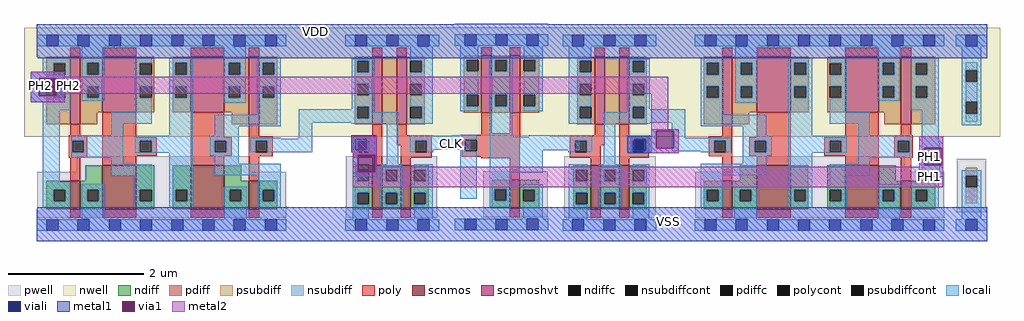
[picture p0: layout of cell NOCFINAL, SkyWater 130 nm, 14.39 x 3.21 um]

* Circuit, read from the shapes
.subckt NOCFINAL PH1 PH2 CLK VDD VSS
XM1 VSS n1 PH2 VSS sky130_fd_pr__nfet_01v8 w=0.42 l=0.15
XM2 n1 n2 VSS VSS sky130_fd_pr__nfet_01v8 w=0.65 l=0.5
XM3 VSS n3 n2 VSS sky130_fd_pr__nfet_01v8 w=0.65 l=0.5
XM4 n3 sky130_fd_sc_hd__clkdlybuf4s50_1_1/A VSS VSS sky130_fd_pr__nfet_01v8 w=0.42 l=0.15
XM5 sky130_fd_sc_hd__clkdlybuf4s50_1_1/A PH1 VSS VSS sky130_fd_pr__nfet_01v8 w=0.65 l=0.15
XM6 VSS CLK sky130_fd_sc_hd__clkdlybuf4s50_1_1/A VSS sky130_fd_pr__nfet_01v8 w=0.65 l=0.15
XM7 VSS CLK sky130_fd_sc_hd__nor2_1_0/A VSS sky130_fd_pr__nfet_01v8 w=0.42 l=0.15
XM8 sky130_fd_sc_hd__clkdlybuf4s50_1_0/A sky130_fd_sc_hd__nor2_1_0/A VSS VSS sky130_fd_pr__nfet_01v8 w=0.65 l=0.15
XM9 VSS PH2 sky130_fd_sc_hd__clkdlybuf4s50_1_0/A VSS sky130_fd_pr__nfet_01v8 w=0.65 l=0.15
XM10 VSS sky130_fd_sc_hd__clkdlybuf4s50_1_0/A n4 VSS sky130_fd_pr__nfet_01v8 w=0.42 l=0.15
XM11 n5 n4 VSS VSS sky130_fd_pr__nfet_01v8 w=0.65 l=0.5
XM12 VSS n5 n6 VSS sky130_fd_pr__nfet_01v8 w=0.65 l=0.5
XM13 sky130_fd_sc_hd__clkdlybuf4s50_1_0/X n6 VSS VSS sky130_fd_pr__nfet_01v8 w=0.42 l=0.15
XM14 VDD n1 PH2 VDD sky130_fd_pr__pfet_01v8_hvt w=1 l=0.15
XM15 n1 n2 VDD VDD sky130_fd_pr__pfet_01v8_hvt w=0.82 l=0.5
XM16 VDD n3 n2 VDD sky130_fd_pr__pfet_01v8_hvt w=0.82 l=0.5
XM17 n3 sky130_fd_sc_hd__clkdlybuf4s50_1_1/A VDD VDD sky130_fd_pr__pfet_01v8_hvt w=1 l=0.15
XM18 n7 PH1 sky130_fd_sc_hd__clkdlybuf4s50_1_1/A VDD sky130_fd_pr__pfet_01v8_hvt w=1 l=0.15
XM19 VDD CLK n7 VDD sky130_fd_pr__pfet_01v8_hvt w=1 l=0.15
XM20 sky130_fd_sc_hd__nor2_1_0/A CLK VDD VDD sky130_fd_pr__pfet_01v8_hvt w=0.84 l=0.15 m=2
XM21 n8 sky130_fd_sc_hd__nor2_1_0/A VDD VDD sky130_fd_pr__pfet_01v8_hvt w=1 l=0.15
XM22 sky130_fd_sc_hd__clkdlybuf4s50_1_0/A PH2 n8 VDD sky130_fd_pr__pfet_01v8_hvt w=1 l=0.15
XM23 VDD sky130_fd_sc_hd__clkdlybuf4s50_1_0/A n4 VDD sky130_fd_pr__pfet_01v8_hvt w=1 l=0.15
XM24 n5 n4 VDD VDD sky130_fd_pr__pfet_01v8_hvt w=0.82 l=0.5
XM25 VDD n5 n6 VDD sky130_fd_pr__pfet_01v8_hvt w=0.82 l=0.5
XM26 sky130_fd_sc_hd__clkdlybuf4s50_1_0/X n6 VDD VDD sky130_fd_pr__pfet_01v8_hvt w=1 l=0.15
.ends

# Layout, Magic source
magic
tech sky130B
magscale 1 2
<< nwell >>
rect -630 259 -39 580
rect 311 259 830 580
<< locali >>
rect -1250 427 -1150 450
rect -1250 393 -1207 427
rect -1173 393 -1150 427
rect -1250 360 -1150 393
rect -460 300 -290 340
rect 570 300 680 340
rect -460 253 -420 300
rect -553 213 -420 253
rect -70 220 45 261
rect 218 218 368 263
rect 640 256 680 300
rect 530 251 565 252
rect 564 217 565 251
rect 640 216 765 256
rect 1384 240 1418 253
rect 1384 219 1430 240
rect 1390 160 1430 219
<< viali >>
rect -1207 393 -1173 427
rect -293 219 -259 253
rect 530 217 564 251
<< metal1 >>
rect -1230 490 1570 590
rect -1250 431 -1150 450
rect -1250 379 -1226 431
rect -1174 427 -1150 431
rect -1173 393 -1150 427
rect -1174 379 -1150 393
rect -1250 360 -1150 379
rect 580 276 660 280
rect -305 253 -230 263
rect 580 260 594 276
rect -305 219 -293 253
rect -259 219 -230 253
rect -305 213 -230 219
rect -300 206 -230 213
rect 510 251 594 260
rect 510 217 530 251
rect 564 224 594 251
rect 646 224 660 276
rect 564 217 660 224
rect 510 210 660 217
rect 1370 226 1440 260
rect -300 154 -286 206
rect -234 154 -230 206
rect -300 140 -230 154
rect 1370 174 1384 226
rect 1436 174 1440 226
rect 1370 140 1440 174
rect -1230 -50 1570 50
<< via1 >>
rect -1226 427 -1174 431
rect -1226 393 -1207 427
rect -1207 393 -1174 427
rect -1226 379 -1174 393
rect 594 224 646 276
rect -286 154 -234 206
rect 1384 174 1436 226
<< metal2 >>
rect -1250 435 -1150 450
rect -1250 431 630 435
rect -1250 379 -1226 431
rect -1174 385 630 431
rect -1174 379 -1150 385
rect -1250 360 -1150 379
rect 580 280 630 385
rect 580 276 660 280
rect -300 206 -230 260
rect 580 224 594 276
rect 646 224 660 276
rect 580 210 660 224
rect 1370 226 1440 260
rect -300 154 -286 206
rect -234 170 -230 206
rect 1370 174 1384 226
rect 1436 174 1440 226
rect 1370 170 1440 174
rect -234 154 1440 170
rect -300 110 1440 154
use sky130_fd_sc_hd__clkdlybuf4s50_1  sky130_fd_sc_hd__clkdlybuf4s50_1_0
transform 1 0 708 0 1 -2
box -38 -48 774 592
use sky130_fd_sc_hd__clkdlybuf4s50_1  sky130_fd_sc_hd__clkdlybuf4s50_1_1
transform -1 0 -496 0 1 -2
box -38 -48 774 592
use sky130_fd_sc_hd__clkinv_1  sky130_fd_sc_hd__clkinv_1_0
transform 1 0 0 0 1 0
box -38 -48 314 592
use sky130_fd_sc_hd__nor2_1  sky130_fd_sc_hd__nor2_1_0
transform -1 0 594 0 1 -2
box -38 -48 314 592
use sky130_fd_sc_hd__nor2_1  sky130_fd_sc_hd__nor2_1_1
transform 1 0 -322 0 1 -2
box -38 -48 314 592
use sky130_fd_sc_hd__tapvpwrvgnd_1  sky130_fd_sc_hd__tapvpwrvgnd_1_0
transform 1 0 1478 0 1 -2
box -38 -48 130 592
<< labels >>
rlabel metal2 s 1400 200 1400 200 4 PH1
port 1 nsew
rlabel metal2 s 1400 140 1400 140 4 PH1
port 1 nsew
rlabel metal2 s -1220 410 -1220 410 4 PH2
port 2 nsew
rlabel metal2 s -1140 410 -1140 410 4 PH2
port 2 nsew
rlabel locali s -10 240 -10 240 4 CLK
port 3 nsew
rlabel metal1 s -410 570 -410 570 4 VDD
port 4 nsew
rlabel metal1 s 630 10 630 10 4 VSS
port 5 nsew
<< end >>

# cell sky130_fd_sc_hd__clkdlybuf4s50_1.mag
magic
tech sky130B
magscale 1 2
<< nwell >>
rect -38 261 774 582
<< pwell >>
rect 107 157 619 203
rect 1 21 735 157
rect 30 -17 64 21
<< scnmos >>
rect 81 47 111 131
rect 183 47 283 177
rect 443 47 543 177
rect 608 47 638 131
<< scpmoshvt >>
rect 81 297 111 497
rect 183 333 283 497
rect 443 333 543 497
rect 608 297 638 497
<< ndiff >>
rect 133 131 183 177
rect 27 104 81 131
rect 27 70 36 104
rect 70 70 81 104
rect 27 47 81 70
rect 111 104 183 131
rect 111 70 133 104
rect 167 70 183 104
rect 111 47 183 70
rect 283 104 335 177
rect 283 70 293 104
rect 327 70 335 104
rect 283 47 335 70
rect 390 104 443 177
rect 390 70 398 104
rect 432 70 443 104
rect 390 47 443 70
rect 543 131 593 177
rect 543 104 608 131
rect 543 70 554 104
rect 588 70 608 104
rect 543 47 608 70
rect 638 104 709 131
rect 638 70 652 104
rect 686 70 709 104
rect 638 47 709 70
<< pdiff >>
rect 27 478 81 497
rect 27 444 36 478
rect 70 444 81 478
rect 27 410 81 444
rect 27 376 36 410
rect 70 376 81 410
rect 27 297 81 376
rect 111 478 183 497
rect 111 444 136 478
rect 170 444 183 478
rect 111 410 183 444
rect 111 376 136 410
rect 170 376 183 410
rect 111 333 183 376
rect 283 478 336 497
rect 283 444 294 478
rect 328 444 336 478
rect 283 410 336 444
rect 283 376 294 410
rect 328 376 336 410
rect 283 333 336 376
rect 390 477 443 497
rect 390 443 398 477
rect 432 443 443 477
rect 390 409 443 443
rect 390 375 398 409
rect 432 375 443 409
rect 390 333 443 375
rect 543 478 608 497
rect 543 444 554 478
rect 588 444 608 478
rect 543 410 608 444
rect 543 376 554 410
rect 588 376 608 410
rect 543 333 608 376
rect 111 297 161 333
rect 558 297 608 333
rect 638 477 709 497
rect 638 443 652 477
rect 686 443 709 477
rect 638 409 709 443
rect 638 375 652 409
rect 686 375 709 409
rect 638 297 709 375
<< ndiffc >>
rect 36 70 70 104
rect 133 70 167 104
rect 293 70 327 104
rect 398 70 432 104
rect 554 70 588 104
rect 652 70 686 104
<< pdiffc >>
rect 36 444 70 478
rect 36 376 70 410
rect 136 444 170 478
rect 136 376 170 410
rect 294 444 328 478
rect 294 376 328 410
rect 398 443 432 477
rect 398 375 432 409
rect 554 444 588 478
rect 554 376 588 410
rect 652 443 686 477
rect 652 375 686 409
<< poly >>
rect 81 497 111 523
rect 183 497 283 523
rect 443 497 543 523
rect 608 497 638 523
rect 81 262 111 297
rect 41 249 111 262
rect 183 259 283 333
rect 443 259 543 333
rect 608 265 638 297
rect 41 215 57 249
rect 91 215 111 249
rect 41 203 111 215
rect 161 249 283 259
rect 161 215 177 249
rect 211 215 283 249
rect 161 205 283 215
rect 382 249 543 259
rect 382 215 398 249
rect 432 215 543 249
rect 382 205 543 215
rect 81 131 111 203
rect 183 177 283 205
rect 443 177 543 205
rect 588 249 642 265
rect 588 215 598 249
rect 632 215 642 249
rect 588 199 642 215
rect 608 131 638 199
rect 81 21 111 47
rect 183 21 283 47
rect 443 21 543 47
rect 608 21 638 47
<< polycont >>
rect 57 215 91 249
rect 177 215 211 249
rect 398 215 432 249
rect 598 215 632 249
<< locali >>
rect 0 527 29 561
rect 63 527 121 561
rect 155 527 213 561
rect 247 527 305 561
rect 339 527 397 561
rect 431 527 489 561
rect 523 527 581 561
rect 615 527 673 561
rect 707 527 736 561
rect 17 478 86 493
rect 17 444 36 478
rect 70 444 86 478
rect 17 410 86 444
rect 17 376 36 410
rect 70 376 86 410
rect 17 326 86 376
rect 120 478 186 527
rect 120 444 136 478
rect 170 444 186 478
rect 120 410 186 444
rect 120 376 136 410
rect 170 376 186 410
rect 120 360 186 376
rect 276 478 346 493
rect 276 444 294 478
rect 328 444 346 478
rect 276 410 346 444
rect 276 376 294 410
rect 328 376 346 410
rect 17 292 211 326
rect 141 263 211 292
rect 276 264 346 376
rect 398 477 448 493
rect 432 443 448 477
rect 398 409 448 443
rect 432 375 448 409
rect 398 333 448 375
rect 538 478 604 527
rect 538 444 554 478
rect 588 444 604 478
rect 538 410 604 444
rect 538 376 554 410
rect 588 376 604 410
rect 538 367 604 376
rect 638 477 719 493
rect 638 443 652 477
rect 686 443 719 477
rect 638 409 719 443
rect 638 375 652 409
rect 686 375 719 409
rect 638 338 719 375
rect 398 299 516 333
rect 482 265 516 299
rect 17 249 107 258
rect 17 215 57 249
rect 91 215 107 249
rect 141 249 227 263
rect 141 215 177 249
rect 211 215 227 249
rect 141 205 227 215
rect 276 249 448 264
rect 276 215 398 249
rect 432 215 448 249
rect 276 214 448 215
rect 482 249 635 265
rect 482 215 598 249
rect 632 215 635 249
rect 141 181 211 205
rect 17 147 211 181
rect 17 104 83 147
rect 17 70 36 104
rect 70 70 83 104
rect 17 51 83 70
rect 117 104 183 113
rect 117 70 133 104
rect 167 70 183 104
rect 117 17 183 70
rect 276 104 346 214
rect 482 199 635 215
rect 482 180 516 199
rect 276 70 293 104
rect 327 70 346 104
rect 276 51 346 70
rect 398 146 516 180
rect 398 104 448 146
rect 669 128 719 338
rect 432 70 448 104
rect 398 51 448 70
rect 538 104 604 120
rect 538 70 554 104
rect 588 70 604 104
rect 538 17 604 70
rect 638 104 719 128
rect 638 70 652 104
rect 686 70 719 104
rect 638 51 719 70
rect 0 -17 29 17
rect 63 -17 121 17
rect 155 -17 213 17
rect 247 -17 305 17
rect 339 -17 397 17
rect 431 -17 489 17
rect 523 -17 581 17
rect 615 -17 673 17
rect 707 -17 736 17
<< viali >>
rect 29 527 63 561
rect 121 527 155 561
rect 213 527 247 561
rect 305 527 339 561
rect 397 527 431 561
rect 489 527 523 561
rect 581 527 615 561
rect 673 527 707 561
rect 29 -17 63 17
rect 121 -17 155 17
rect 213 -17 247 17
rect 305 -17 339 17
rect 397 -17 431 17
rect 489 -17 523 17
rect 581 -17 615 17
rect 673 -17 707 17
<< metal1 >>
rect 0 561 736 592
rect 0 527 29 561
rect 63 527 121 561
rect 155 527 213 561
rect 247 527 305 561
rect 339 527 397 561
rect 431 527 489 561
rect 523 527 581 561
rect 615 527 673 561
rect 707 527 736 561
rect 0 496 736 527
rect 0 17 736 48
rect 0 -17 29 17
rect 63 -17 121 17
rect 155 -17 213 17
rect 247 -17 305 17
rect 339 -17 397 17
rect 431 -17 489 17
rect 523 -17 581 17
rect 615 -17 673 17
rect 707 -17 736 17
rect 0 -48 736 -17
<< labels >>
flabel locali s 30 221 64 255 0 FreeSans 400 0 0 0 A
port 1 nsew
flabel locali s 676 425 710 459 0 FreeSans 400 0 0 0 X
port 2 nsew
flabel locali s 676 357 710 391 0 FreeSans 400 0 0 0 X
port 2 nsew
flabel locali s 676 289 710 323 0 FreeSans 400 0 0 0 X
port 2 nsew
flabel locali s 676 221 710 255 0 FreeSans 400 0 0 0 X
port 2 nsew
flabel locali s 676 153 710 187 0 FreeSans 400 0 0 0 X
port 2 nsew
flabel locali s 676 85 710 119 0 FreeSans 400 0 0 0 X
port 2 nsew
flabel pwell s 30 -17 64 17 0 FreeSans 200 0 0 0 VNB
port 3 nsew
flabel nwell s 30 527 64 561 0 FreeSans 200 0 0 0 VPB
port 4 nsew
flabel metal1 s 30 -17 64 17 0 FreeSans 200 0 0 0 VGND
port 5 nsew
flabel metal1 s 30 527 64 561 0 FreeSans 200 0 0 0 VPWR
port 6 nsew
rlabel comment s 0 0 0 0 4 clkdlybuf4s50_1
<< properties >>
string FIXED_BBOX 0 0 736 544
string path 0.000 0.000 3.680 0.000 
<< end >>

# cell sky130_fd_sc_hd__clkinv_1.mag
magic
tech sky130B
magscale 1 2
<< nwell >>
rect -38 261 314 582
<< pwell >>
rect 84 21 275 157
rect 29 -17 63 17
<< scnmos >>
rect 162 47 192 131
<< scpmoshvt >>
rect 79 329 109 497
rect 163 329 193 497
<< ndiff >>
rect 110 104 162 131
rect 110 70 118 104
rect 152 70 162 104
rect 110 47 162 70
rect 192 102 249 131
rect 192 68 202 102
rect 236 68 249 102
rect 192 47 249 68
<< pdiff >>
rect 27 485 79 497
rect 27 451 35 485
rect 69 451 79 485
rect 27 383 79 451
rect 27 349 35 383
rect 69 349 79 383
rect 27 329 79 349
rect 109 485 163 497
rect 109 451 119 485
rect 153 451 163 485
rect 109 383 163 451
rect 109 349 119 383
rect 153 349 163 383
rect 109 329 163 349
rect 193 485 249 497
rect 193 451 203 485
rect 237 451 249 485
rect 193 383 249 451
rect 193 349 203 383
rect 237 349 249 383
rect 193 329 249 349
<< ndiffc >>
rect 118 70 152 104
rect 202 68 236 102
<< pdiffc >>
rect 35 451 69 485
rect 35 349 69 383
rect 119 451 153 485
rect 119 349 153 383
rect 203 451 237 485
rect 203 349 237 383
<< poly >>
rect 79 497 109 523
rect 163 497 193 523
rect 79 269 109 329
rect 163 269 193 329
rect 79 265 193 269
rect 21 249 193 265
rect 21 215 31 249
rect 65 239 193 249
rect 65 215 192 239
rect 21 199 192 215
rect 78 195 192 199
rect 162 131 192 195
rect 162 21 192 47
<< polycont >>
rect 31 215 65 249
<< locali >>
rect 0 527 29 561
rect 63 527 121 561
rect 155 527 213 561
rect 247 527 276 561
rect 17 485 69 527
rect 17 451 35 485
rect 17 383 69 451
rect 17 349 35 383
rect 17 333 69 349
rect 103 485 169 493
rect 103 451 119 485
rect 153 451 169 485
rect 103 383 169 451
rect 103 349 119 383
rect 153 349 169 383
rect 17 249 65 265
rect 17 215 31 249
rect 17 75 65 215
rect 103 258 169 349
rect 203 485 259 527
rect 237 451 259 485
rect 203 383 259 451
rect 237 349 259 383
rect 203 333 259 349
rect 103 152 259 258
rect 103 104 168 152
rect 103 70 118 104
rect 152 70 168 104
rect 103 51 168 70
rect 202 102 259 118
rect 236 68 259 102
rect 202 17 259 68
rect 0 -17 29 17
rect 63 -17 121 17
rect 155 -17 213 17
rect 247 -17 276 17
<< viali >>
rect 29 527 63 561
rect 121 527 155 561
rect 213 527 247 561
rect 29 -17 63 17
rect 121 -17 155 17
rect 213 -17 247 17
<< metal1 >>
rect 0 561 276 592
rect 0 527 29 561
rect 63 527 121 561
rect 155 527 213 561
rect 247 527 276 561
rect 0 496 276 527
rect 0 17 276 48
rect 0 -17 29 17
rect 63 -17 121 17
rect 155 -17 213 17
rect 247 -17 276 17
rect 0 -48 276 -17
<< labels >>
flabel locali s 213 153 247 187 0 FreeSans 250 0 0 0 Y
port 1 nsew
flabel locali s 213 221 247 255 0 FreeSans 250 0 0 0 Y
port 1 nsew
flabel locali s 121 289 155 323 0 FreeSans 250 0 0 0 Y
port 1 nsew
flabel locali s 121 221 155 255 0 FreeSans 250 0 0 0 Y
port 1 nsew
flabel locali s 121 153 155 187 0 FreeSans 250 0 0 0 Y
port 1 nsew
flabel locali s 29 85 63 119 0 FreeSans 250 0 0 0 A
port 2 nsew
flabel locali s 29 153 63 187 0 FreeSans 250 0 0 0 A
port 2 nsew
flabel locali s 29 221 63 255 0 FreeSans 250 0 0 0 A
port 2 nsew
flabel nwell s 29 527 63 561 0 FreeSans 200 0 0 0 VPB
port 3 nsew
flabel pwell s 29 -17 63 17 0 FreeSans 200 0 0 0 VNB
port 4 nsew
flabel metal1 s 29 -17 63 17 0 FreeSans 200 0 0 0 VGND
port 5 nsew
flabel metal1 s 29 527 63 561 0 FreeSans 200 0 0 0 VPWR
port 6 nsew
rlabel comment s 0 0 0 0 4 clkinv_1
<< properties >>
string FIXED_BBOX 0 0 276 544
string path 0.000 0.000 1.380 0.000 
<< end >>

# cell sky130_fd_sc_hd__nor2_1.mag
magic
tech sky130B
magscale 1 2
<< nwell >>
rect -38 261 314 582
<< pwell >>
rect 1 21 271 203
rect 30 -17 64 21
<< scnmos >>
rect 79 47 109 177
rect 163 47 193 177
<< scpmoshvt >>
rect 79 297 109 497
rect 151 297 181 497
<< ndiff >>
rect 27 163 79 177
rect 27 129 35 163
rect 69 129 79 163
rect 27 95 79 129
rect 27 61 35 95
rect 69 61 79 95
rect 27 47 79 61
rect 109 163 163 177
rect 109 129 119 163
rect 153 129 163 163
rect 109 95 163 129
rect 109 61 119 95
rect 153 61 163 95
rect 109 47 163 61
rect 193 163 245 177
rect 193 129 203 163
rect 237 129 245 163
rect 193 95 245 129
rect 193 61 203 95
rect 237 61 245 95
rect 193 47 245 61
<< pdiff >>
rect 27 485 79 497
rect 27 451 35 485
rect 69 451 79 485
rect 27 417 79 451
rect 27 383 35 417
rect 69 383 79 417
rect 27 349 79 383
rect 27 315 35 349
rect 69 315 79 349
rect 27 297 79 315
rect 109 297 151 497
rect 181 485 233 497
rect 181 451 191 485
rect 225 451 233 485
rect 181 417 233 451
rect 181 383 191 417
rect 225 383 233 417
rect 181 349 233 383
rect 181 315 191 349
rect 225 315 233 349
rect 181 297 233 315
<< ndiffc >>
rect 35 129 69 163
rect 35 61 69 95
rect 119 129 153 163
rect 119 61 153 95
rect 203 129 237 163
rect 203 61 237 95
<< pdiffc >>
rect 35 451 69 485
rect 35 383 69 417
rect 35 315 69 349
rect 191 451 225 485
rect 191 383 225 417
rect 191 315 225 349
<< poly >>
rect 79 497 109 523
rect 151 497 181 523
rect 79 265 109 297
rect 22 249 109 265
rect 22 215 37 249
rect 71 215 109 249
rect 151 265 181 297
rect 151 249 255 265
rect 151 235 205 249
rect 22 199 109 215
rect 79 177 109 199
rect 163 215 205 235
rect 239 215 255 249
rect 163 199 255 215
rect 163 177 193 199
rect 79 21 109 47
rect 163 21 193 47
<< polycont >>
rect 37 215 71 249
rect 205 215 239 249
<< locali >>
rect 0 527 29 561
rect 63 527 121 561
rect 155 527 213 561
rect 247 527 276 561
rect 19 485 85 490
rect 19 451 35 485
rect 69 451 85 485
rect 19 417 85 451
rect 19 383 35 417
rect 69 383 85 417
rect 19 349 85 383
rect 19 315 35 349
rect 69 333 85 349
rect 191 485 257 527
rect 225 451 257 485
rect 191 417 257 451
rect 225 383 257 417
rect 191 349 257 383
rect 69 315 155 333
rect 19 299 155 315
rect 225 315 257 349
rect 191 299 257 315
rect 17 249 87 265
rect 17 215 37 249
rect 71 215 87 249
rect 121 179 155 299
rect 189 249 259 265
rect 189 215 205 249
rect 239 215 259 249
rect 21 163 69 179
rect 21 129 35 163
rect 21 95 69 129
rect 21 61 35 95
rect 21 17 69 61
rect 103 163 169 179
rect 103 129 119 163
rect 153 129 169 163
rect 103 95 169 129
rect 103 61 119 95
rect 153 61 169 95
rect 103 51 169 61
rect 203 163 257 179
rect 237 129 257 163
rect 203 95 257 129
rect 237 61 257 95
rect 203 17 257 61
rect 0 -17 29 17
rect 63 -17 121 17
rect 155 -17 213 17
rect 247 -17 276 17
<< viali >>
rect 29 527 63 561
rect 121 527 155 561
rect 213 527 247 561
rect 29 -17 63 17
rect 121 -17 155 17
rect 213 -17 247 17
<< metal1 >>
rect 0 561 276 592
rect 0 527 29 561
rect 63 527 121 561
rect 155 527 213 561
rect 247 527 276 561
rect 0 496 276 527
rect 0 17 276 48
rect 0 -17 29 17
rect 63 -17 121 17
rect 155 -17 213 17
rect 247 -17 276 17
rect 0 -48 276 -17
<< labels >>
flabel locali s 29 221 63 255 0 FreeSans 200 0 0 0 B
port 1 nsew
flabel locali s 30 425 64 459 0 FreeSans 200 0 0 0 Y
port 2 nsew
flabel locali s 213 221 247 255 0 FreeSans 200 0 0 0 A
port 3 nsew
flabel nwell s 30 527 64 561 0 FreeSans 200 0 0 0 VPB
port 4 nsew
flabel pwell s 30 -17 64 17 0 FreeSans 200 0 0 0 VNB
port 5 nsew
flabel metal1 s 30 -17 64 17 0 FreeSans 200 0 0 0 VGND
port 6 nsew
flabel metal1 s 30 527 64 561 0 FreeSans 200 0 0 0 VPWR
port 7 nsew
rlabel comment s 0 0 0 0 4 nor2_1
<< properties >>
string FIXED_BBOX 0 0 276 544
string path 0.000 0.000 1.380 0.000 
<< end >>

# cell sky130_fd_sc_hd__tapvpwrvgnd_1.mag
magic
tech sky130B
magscale 1 2
<< nwell >>
rect -38 261 130 582
<< pwell >>
rect 3 38 89 195
<< psubdiff >>
rect 29 145 63 169
rect 29 64 63 111
<< nsubdiff >>
rect 29 456 63 480
rect 29 363 63 422
rect 29 305 63 329
<< psubdiffcont >>
rect 29 111 63 145
<< nsubdiffcont >>
rect 29 422 63 456
rect 29 329 63 363
<< locali >>
rect 0 527 29 561
rect 63 527 92 561
rect 17 456 75 527
rect 17 422 29 456
rect 63 422 75 456
rect 17 363 75 422
rect 17 329 29 363
rect 63 329 75 363
rect 17 294 75 329
rect 17 145 75 162
rect 17 111 29 145
rect 63 111 75 145
rect 17 17 75 111
rect 0 -17 29 17
rect 63 -17 92 17
<< viali >>
rect 29 527 63 561
rect 29 -17 63 17
<< metal1 >>
rect 0 561 92 592
rect 0 527 29 561
rect 63 527 92 561
rect 0 496 92 527
rect 0 17 92 48
rect 0 -17 29 17
rect 63 -17 92 17
rect 0 -48 92 -17
<< labels >>
flabel metal1 s 22 524 75 553 0 FreeSans 200 0 0 0 VPWR
port 1 nsew
flabel metal1 s 21 -18 72 20 0 FreeSans 200 0 0 0 VGND
port 2 nsew
rlabel comment s 0 0 0 0 4 tapvpwrvgnd_1
<< properties >>
string FIXED_BBOX 0 0 92 544
<< end >>
